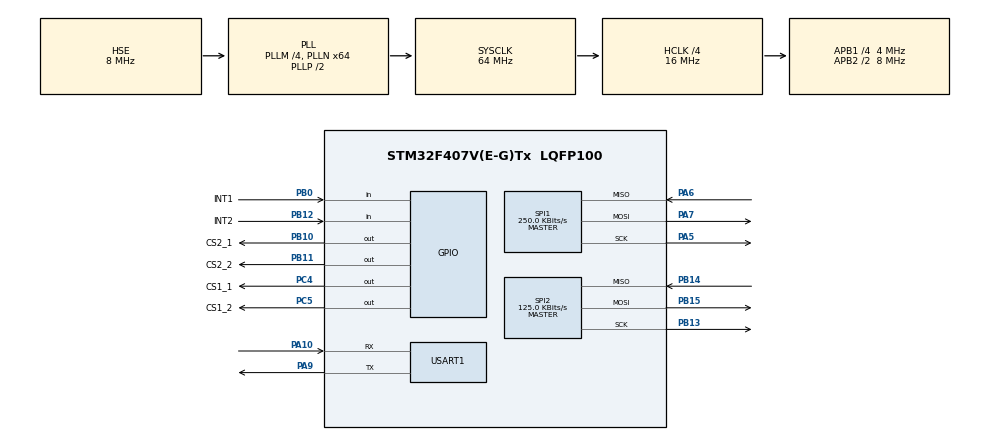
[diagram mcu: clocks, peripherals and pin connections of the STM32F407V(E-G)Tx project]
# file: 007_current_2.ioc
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Mcu.Family=STM32F4
Mcu.Name=STM32F407V(E-G)Tx
Mcu.Package=LQFP100
NVIC.PriorityGroup=NVIC_PRIORITYGROUP_4
NVIC.TIM6_DAC_IRQn=true\:0\:0\:false\:false\:true\:true\:true\:true
PA10.Mode=Asynchronous
PA10.Signal=USART1_RX
PA5.Mode=Full_Duplex_Master
PA5.Signal=SPI1_SCK
PA6.Mode=Full_Duplex_Master
PA6.Signal=SPI1_MISO
PA7.GPIO_PuPd=GPIO_PULLUP
PA7.Mode=Full_Duplex_Master
PA7.Signal=SPI1_MOSI
PA9.Mode=Asynchronous
PA9.Signal=USART1_TX
PB0.GPIO_Label=INT1
PB0.Signal=GPIO_Input
PB10.GPIO_Label=CS2_1
PB10.Signal=GPIO_Output
PB11.GPIO_Label=CS2_2
PB11.Signal=GPIO_Output
PB12.GPIO_Label=INT2
PB12.Signal=GPIO_Input
PB13.Mode=Full_Duplex_Master
PB13.Signal=SPI2_SCK
PB14.Mode=Full_Duplex_Master
PB14.Signal=SPI2_MISO
PB15.GPIO_PuPd=GPIO_PULLUP
PB15.Mode=Full_Duplex_Master
PB15.Signal=SPI2_MOSI
PC4.GPIO_Label=CS1_1
PC4.Signal=GPIO_Output
PC5.GPIO_Label=CS1_2
PC5.Signal=GPIO_Output
PH0-OSC_IN.Mode=HSE-External-Oscillator
PH0-OSC_IN.Signal=RCC_OSC_IN
PH1-OSC_OUT.Mode=HSE-External-Oscillator
PH1-OSC_OUT.Signal=RCC_OSC_OUT
ProjectManager.HeapSize=0x200
ProjectManager.StackSize=0x400
ProjectManager.TargetToolchain=STM32CubeIDE
RCC.48MHZClocksFreq_Value=32000000
RCC.AHBCLKDivider=RCC_SYSCLK_DIV4
RCC.AHBFreq_Value=16000000
RCC.APB1CLKDivider=RCC_HCLK_DIV4
RCC.APB1Freq_Value=4000000
RCC.APB1TimFreq_Value=8000000
RCC.APB2CLKDivider=RCC_HCLK_DIV2
RCC.APB2Freq_Value=8000000
RCC.APB2TimFreq_Value=16000000
RCC.CortexFreq_Value=16000000
RCC.HCLKFreq_Value=16000000
RCC.HSE_VALUE=8000000
RCC.HSI_VALUE=16000000
RCC.LSE_VALUE=32768
RCC.PLLM=4
RCC.PLLN=64
RCC.PLLSourceVirtual=RCC_PLLSOURCE_HSE
RCC.SYSCLKFreq_VALUE=64000000
RCC.SYSCLKSource=RCC_SYSCLKSOURCE_PLLCLK
RCC.VCOOutputFreq_Value=128000000
SPI1.BaudRatePrescaler=SPI_BAUDRATEPRESCALER_32
SPI1.CLKPhase=SPI_PHASE_2EDGE
SPI1.CalculateBaudRate=250.0 KBits/s
SPI1.Direction=SPI_DIRECTION_2LINES
SPI1.Mode=SPI_MODE_MASTER
SPI1.VirtualType=VM_MASTER
SPI2.BaudRatePrescaler=SPI_BAUDRATEPRESCALER_32
SPI2.CLKPhase=SPI_PHASE_2EDGE
SPI2.CalculateBaudRate=125.0 KBits/s
SPI2.Direction=SPI_DIRECTION_2LINES
SPI2.Mode=SPI_MODE_MASTER
SPI2.VirtualType=VM_MASTER
USART1.VirtualMode=VM_ASYNC
VP_TIM6_VS_ClockSourceINT.Mode=Enable_Timer
board=custom

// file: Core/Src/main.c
/* USER CODE BEGIN Header */
/**
  ******************************************************************************
  * @file           : main.c
  * @brief          : Main program body
  ******************************************************************************
  * @attention
  *
  * Copyright (c) 2025 STMicroelectronics.
  * All rights reserved.
  *
  * This software is licensed under terms that can be found in the LICENSE file
  * in the root directory of this software component.
  * If no LICENSE file comes with this software, it is provided AS-IS.
  *
  ******************************************************************************
  */
/* USER CODE END Header */
#include "main.h"

/* USER CODE BEGIN Includes */

#include "maxrefdes24.h"
#include "stdio.h"
#include <string.h>
#include "uart_cmd.h"
#include "ac_signal.h"

/* USER CODE END Includes */

/* USER CODE BEGIN PD */

#define RED  "\x1B[31m"
#define GRN  "\x1B[32m"

#define RST  "\033[0m"

#define MAX_SAFE_FREQUENCY 1001

/* USER CODE END PD */

/* USER CODE BEGIN PM */

#ifndef STDIN_FILENO
#define STDIN_FILENO 0
#endif

#ifndef STDOUT_FILENO
#define STDOUT_FILENO 1
#endif

#ifndef STDERR_FILENO
#define STDERR_FILENO 2
#endif

/* USER CODE END PM */

SPI_HandleTypeDef hspi1;
SPI_HandleTypeDef hspi2;

TIM_HandleTypeDef htim6;

UART_HandleTypeDef huart1;

/* USER CODE BEGIN PV */

extern volatile int g_cmd_channel;
extern volatile int g_cmd_value;
extern volatile int g_cmd_freq;
extern volatile uint8_t g_cmd_valid;

/* USER CODE END PV */

void SystemClock_Config(void);
static void MX_GPIO_Init(void);
static void MX_SPI1_Init(void);
static void MX_SPI2_Init(void);
static void MX_USART1_UART_Init(void);
static void MX_TIM6_Init(void);

/* USER CODE BEGIN 0 */

	MAXREFDES24_Device dev1, dev2;

	int _write(int file, char *ptr, int len)
	{
		if(file==STDERR_FILENO)
		{
			HAL_UART_Transmit(&huart1, (uint8_t*)RED, strlen(RED) , HAL_MAX_DELAY);
			HAL_UART_Transmit(&huart1, (uint8_t*)ptr, len , HAL_MAX_DELAY);
			HAL_UART_Transmit(&huart1, (uint8_t*)RST, strlen(RST) , HAL_MAX_DELAY);
		}

		else if(file==STDOUT_FILENO)
		{
			HAL_UART_Transmit(&huart1, (uint8_t*)GRN, strlen(GRN) , HAL_MAX_DELAY);
			HAL_UART_Transmit(&huart1, (uint8_t*)ptr, len , HAL_MAX_DELAY);
			HAL_UART_Transmit(&huart1, (uint8_t*)RST, strlen(RST) , HAL_MAX_DELAY);
		}
		else
		{
			HAL_UART_Transmit(&huart1, (uint8_t*)ptr, len , HAL_MAX_DELAY);

		}
		return len;
	}

/* USER CODE END 0 */

int main(void)
{

  /* MCU Configuration--------------------------------------------------------*/

  /* Reset of all peripherals, Initializes the Flash interface and the Systick. */
  HAL_Init();

  /* Configure the system clock */
  SystemClock_Config();

  /* Initialize all configured peripherals */
  MX_GPIO_Init();
  MX_SPI1_Init();
  MX_SPI2_Init();
  MX_USART1_UART_Init();
  MX_TIM6_Init();
  /* USER CODE BEGIN 2 */

    UartCmd_Init(&huart1);

    Retarget_InitForPrintf(&huart1);

    max24_init(&dev1,
               &hspi1,
               CS1_2_GPIO_Port, CS1_2_Pin, // DAC CS (Ör: GPIOC, GPIO_PIN_4)
               CS1_1_GPIO_Port, CS1_1_Pin  // DC/DC CS (Ör: GPIOC, GPIO_PIN_5)
               );

    max24_enableOutput(&dev1);

    max24_init(&dev2,
               &hspi2,
               CS2_2_GPIO_Port, CS2_2_Pin, // DAC CS (Ör: GPIOB, GPIO_PIN_12)
               CS2_1_GPIO_Port, CS2_1_Pin  // DC/DC CS (Ör: GPIOB, GPIO_PIN_13)
               );

    max24_enableOutput(&dev2);

    AC_Signal_Init(&htim6, &dev2, 1);

  /* USER CODE END 2 */

  /* Infinite loop */
  while (1)
  {

    /* USER CODE BEGIN 3 */

	  UartCmd_Task();

	  if (g_cmd_valid)
	          {
	              uint8_t ch = g_cmd_channel;
	              int val = g_cmd_value;
	              int freq = g_cmd_freq;

	              // Kanalları 0-4 (DC) ve 5 (AC) olarak ayır
	              if (ch < 5)
	              {
	                  // DC KANAL (0, 1, 2, 3, veya 4)

	                  float current_mA = (float)val / 1000.0f;

	                  if (ch < 4) // Kanallar 0-3 -> dev1
	                  {
	                      max24_setChannelCurrent(&dev1, ch, current_mA);
	                  }
	                  else // ch == 4 -> dev2 (kanal 0)
	                  {
	                      max24_setChannelCurrent(&dev2, 0, current_mA);
	                  }

	              }
	              else if (ch == 5)
	              {
	                  // AC KANAL (5)

	                  // 'val' (örn: 10000) -> 10.0f Amplitüd (mA)
	                  // 'freq' (örn: 100) -> 100 Hz Frekans
	                  float amplitude_mA = (float)val / 1000.0f;

	                  if(MAX_SAFE_FREQUENCY > freq)// AC sinyal üretecini yeni parametrelerle başlat
	                   AC_Signal_Start(amplitude_mA, freq);

	              }

	              g_cmd_valid = 0; // Komut işlendi, bayrağı sıfırla
	          }

	        // Add a small delay or other tasks if needed
	        // HAL_Delay(1);

	    }
  /* USER CODE END 3 */
}

void SystemClock_Config(void)
{
  RCC_OscInitTypeDef RCC_OscInitStruct = {0};
  RCC_ClkInitTypeDef RCC_ClkInitStruct = {0};

  /** Configure the main internal regulator output voltage
  */
  __HAL_RCC_PWR_CLK_ENABLE();
  __HAL_PWR_VOLTAGESCALING_CONFIG(PWR_REGULATOR_VOLTAGE_SCALE1);

  /** Initializes the RCC Oscillators according to the specified parameters
  * in the RCC_OscInitTypeDef structure.
  */
  RCC_OscInitStruct.OscillatorType = RCC_OSCILLATORTYPE_HSE;
  RCC_OscInitStruct.HSEState = RCC_HSE_ON;
  RCC_OscInitStruct.PLL.PLLState = RCC_PLL_ON;
  RCC_OscInitStruct.PLL.PLLSource = RCC_PLLSOURCE_HSE;
  RCC_OscInitStruct.PLL.PLLM = 4;
  RCC_OscInitStruct.PLL.PLLN = 64;
  RCC_OscInitStruct.PLL.PLLP = RCC_PLLP_DIV2;
  RCC_OscInitStruct.PLL.PLLQ = 4;
  if (HAL_RCC_OscConfig(&RCC_OscInitStruct) != HAL_OK)
  {
    Error_Handler();
  }

  /** Initializes the CPU, AHB and APB buses clocks
  */
  RCC_ClkInitStruct.ClockType = RCC_CLOCKTYPE_HCLK|RCC_CLOCKTYPE_SYSCLK
                              |RCC_CLOCKTYPE_PCLK1|RCC_CLOCKTYPE_PCLK2;
  RCC_ClkInitStruct.SYSCLKSource = RCC_SYSCLKSOURCE_PLLCLK;
  RCC_ClkInitStruct.AHBCLKDivider = RCC_SYSCLK_DIV4;
  RCC_ClkInitStruct.APB1CLKDivider = RCC_HCLK_DIV4;
  RCC_ClkInitStruct.APB2CLKDivider = RCC_HCLK_DIV2;

  if (HAL_RCC_ClockConfig(&RCC_ClkInitStruct, FLASH_LATENCY_0) != HAL_OK)
  {
    Error_Handler();
  }
}

static void MX_SPI1_Init(void)
{

  /* SPI1 parameter configuration*/
  hspi1.Instance = SPI1;
  hspi1.Init.Mode = SPI_MODE_MASTER;
  hspi1.Init.Direction = SPI_DIRECTION_2LINES;
  hspi1.Init.DataSize = SPI_DATASIZE_8BIT;
  hspi1.Init.CLKPolarity = SPI_POLARITY_LOW;
  hspi1.Init.CLKPhase = SPI_PHASE_2EDGE;
  hspi1.Init.NSS = SPI_NSS_SOFT;
  hspi1.Init.BaudRatePrescaler = SPI_BAUDRATEPRESCALER_32;
  hspi1.Init.FirstBit = SPI_FIRSTBIT_MSB;
  hspi1.Init.TIMode = SPI_TIMODE_DISABLE;
  hspi1.Init.CRCCalculation = SPI_CRCCALCULATION_DISABLE;
  hspi1.Init.CRCPolynomial = 10;
  if (HAL_SPI_Init(&hspi1) != HAL_OK)
  {
    Error_Handler();
  }

}

static void MX_SPI2_Init(void)
{

  /* SPI2 parameter configuration*/
  hspi2.Instance = SPI2;
  hspi2.Init.Mode = SPI_MODE_MASTER;
  hspi2.Init.Direction = SPI_DIRECTION_2LINES;
  hspi2.Init.DataSize = SPI_DATASIZE_8BIT;
  hspi2.Init.CLKPolarity = SPI_POLARITY_LOW;
  hspi2.Init.CLKPhase = SPI_PHASE_2EDGE;
  hspi2.Init.NSS = SPI_NSS_SOFT;
  hspi2.Init.BaudRatePrescaler = SPI_BAUDRATEPRESCALER_32;
  hspi2.Init.FirstBit = SPI_FIRSTBIT_MSB;
  hspi2.Init.TIMode = SPI_TIMODE_DISABLE;
  hspi2.Init.CRCCalculation = SPI_CRCCALCULATION_DISABLE;
  hspi2.Init.CRCPolynomial = 10;
  if (HAL_SPI_Init(&hspi2) != HAL_OK)
  {
    Error_Handler();
  }

}

static void MX_TIM6_Init(void)
{

  TIM_MasterConfigTypeDef sMasterConfig = {0};

  htim6.Instance = TIM6;
  htim6.Init.Prescaler = 0;
  htim6.Init.CounterMode = TIM_COUNTERMODE_UP;
  htim6.Init.Period = 65535;
  htim6.Init.AutoReloadPreload = TIM_AUTORELOAD_PRELOAD_DISABLE;
  if (HAL_TIM_Base_Init(&htim6) != HAL_OK)
  {
    Error_Handler();
  }
  sMasterConfig.MasterOutputTrigger = TIM_TRGO_RESET;
  sMasterConfig.MasterSlaveMode = TIM_MASTERSLAVEMODE_DISABLE;
  if (HAL_TIMEx_MasterConfigSynchronization(&htim6, &sMasterConfig) != HAL_OK)
  {
    Error_Handler();
  }

}

static void MX_USART1_UART_Init(void)
{

  huart1.Instance = USART1;
  huart1.Init.BaudRate = 115200;
  huart1.Init.WordLength = UART_WORDLENGTH_8B;
  huart1.Init.StopBits = UART_STOPBITS_1;
  huart1.Init.Parity = UART_PARITY_NONE;
  huart1.Init.Mode = UART_MODE_TX_RX;
  huart1.Init.HwFlowCtl = UART_HWCONTROL_NONE;
  huart1.Init.OverSampling = UART_OVERSAMPLING_16;
  if (HAL_UART_Init(&huart1) != HAL_OK)
  {
    Error_Handler();
  }

}

static void MX_GPIO_Init(void)
{
  GPIO_InitTypeDef GPIO_InitStruct = {0};

  /* GPIO Ports Clock Enable */
  __HAL_RCC_GPIOH_CLK_ENABLE();
  __HAL_RCC_GPIOA_CLK_ENABLE();
  __HAL_RCC_GPIOC_CLK_ENABLE();
  __HAL_RCC_GPIOB_CLK_ENABLE();

  /*Configure GPIO pin Output Level */
  HAL_GPIO_WritePin(GPIOC, CS1_1_Pin|CS1_2_Pin, GPIO_PIN_RESET);

  /*Configure GPIO pin Output Level */
  HAL_GPIO_WritePin(GPIOB, CS2_1_Pin|CS2_2_Pin, GPIO_PIN_RESET);

  /*Configure GPIO pins : CS1_1_Pin CS1_2_Pin */
  GPIO_InitStruct.Pin = CS1_1_Pin|CS1_2_Pin;
  GPIO_InitStruct.Mode = GPIO_MODE_OUTPUT_PP;
  GPIO_InitStruct.Pull = GPIO_NOPULL;
  GPIO_InitStruct.Speed = GPIO_SPEED_FREQ_LOW;
  HAL_GPIO_Init(GPIOC, &GPIO_InitStruct);

  /*Configure GPIO pins : INT1_Pin INT2_Pin */
  GPIO_InitStruct.Pin = INT1_Pin|INT2_Pin;
  GPIO_InitStruct.Mode = GPIO_MODE_INPUT;
  GPIO_InitStruct.Pull = GPIO_NOPULL;
  HAL_GPIO_Init(GPIOB, &GPIO_InitStruct);

  /*Configure GPIO pins : CS2_1_Pin CS2_2_Pin */
  GPIO_InitStruct.Pin = CS2_1_Pin|CS2_2_Pin;
  GPIO_InitStruct.Mode = GPIO_MODE_OUTPUT_PP;
  GPIO_InitStruct.Pull = GPIO_NOPULL;
  GPIO_InitStruct.Speed = GPIO_SPEED_FREQ_LOW;
  HAL_GPIO_Init(GPIOB, &GPIO_InitStruct);

}

void Error_Handler(void)
{
  __disable_irq();
  while (1)
  {
  }
}
